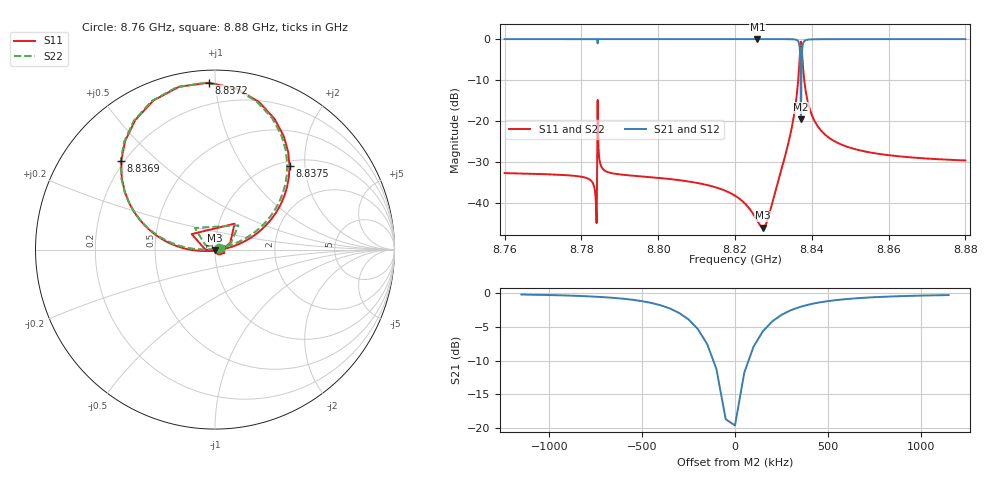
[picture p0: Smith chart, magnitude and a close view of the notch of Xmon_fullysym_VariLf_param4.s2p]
! Sonnet Data File
! From: emgraph Version : 16.52
! From Project: 171117_Xmon_fullysym
! Data is De-embedded
! Data File Written: 11/27/2017 00:27:55
!< HDATE 11/26/2017 21:47:59
!< MDATE 11/26/2017 21:47:59
!< PARAMS
!< Lj = 11.0
!< Gap = 1.0
!< Pwid = 2000.0
!< Airgap = 6.0
!< Width = 10.0
!< Lj1 = 10.68
!< END PARAMS
# GHZ S MA R 50.90000
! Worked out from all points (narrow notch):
!   2401 points, 8.76 GHz to 8.88 GHz, reference 50.9 ohm
!   highest |S21| = 0.00 dB at 8.8259 GHz (marker M1); lowest = -19.6 dB at 8.8372 GHz (marker M2)
!   notch at M2: 19.6 dB deep, 195 kHz wide at half that depth
!   lowest |S11| = -46.1 dB at 8.8272 GHz (marker M3), VSWR 1.01, Z = 51 - j0.504 ohm
!   |S11| at or under -10 dB: start of sweep to 8.8365 GHz; 8.838026 GHz to end of sweep
!   |S22| runs from -45.9 to -0.6 dB; largest |S21 - S12| = 0
!   S11 on the Smith chart (normalised r, x): 8.76 GHz: 1.05, -0.00; 8.8369 GHz: 0.19, +0.39; 8.8372 GHz: 0.07, +0.96; 8.8375 GHz: 1.09, +1.67; 8.88 GHz: 1.07, -0.00
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8.76  0.0231 -3.6  0.9997 -80.6  0.9997 -80.6  0.0231 22.3
!< P1 F=8.76 Eeff=(6.44841381 -2.9796e-5) Z0=(50.9085048 1.17026e-4) R=0.0 C=0.0
!< P2 F=8.76 Eeff=(6.44841381 -2.9796e-5) Z0=(50.9085048 1.17026e-4) R=0.0 C=0.0
8.78  0.02086 -5.6  0.9998 -81.0  0.9998 -81.0  0.02086 23.8
8.78345  0.01468 -14.1  0.9997 -81.4  0.9997 -81.4  0.01486 32.6
8.7847  0.03391 3.8  0.9989 -80.2  0.9989 -80.2  0.03411 17.4
8.78665  0.02398 -2.7  0.9997 -80.8  0.9997 -80.8  0.024 21.1
8.8  0.0202 -5.9  0.9998 -81.2  0.9998 -81.2  0.0202 23.6
8.82  0.01224 -16.4  0.9999 -81.8  0.9999 -81.8  0.01226 32.9
8.82585  0.005966 -49.6  0.9999 -82.4  0.9999 -82.4  0.006033 65.3
8.82725  0.004983 -83.1  0.9999 -82.6  0.9999 -82.6  0.005086 97.9
8.8288  0.006976 -127.9  0.9999 -82.8  0.9999 -82.8  0.007079 141.4
8.83425  0.06325 -172.6  0.9974 -86.2  0.9974 -86.2  0.06334 179.1
8.8361  0.2115 174.9  0.9733 -94.8  0.9733 -94.8  0.2116 173.2
8.83655  0.3611 164.7  0.9211 -103.8  0.9211 -103.8  0.3614 164.1
8.83695  0.7184 136.7  0.638 -128.4  0.638 -128.4  0.7189 137.0
8.8372  0.9308 92.2  0.1046 -36.1  0.1046 -36.1  0.9315 93.1
8.8375  0.6251 48.4  0.7464 -44.0  0.7464 -44.0  0.6255 49.9
8.83785  0.3808 30.1  0.9148 -60.3  0.9148 -60.3  0.381 32.3
8.83835  0.2419 20.6  0.9669 -68.7  0.9669 -68.7  0.242 23.7
8.84  0.1186 11.6  0.9923 -75.9  0.9923 -75.9  0.1186 17.3
8.84625  0.05549 4.8  0.9984 -79.6  0.9984 -79.6  0.05551 16.2
8.86  0.03824 1.3  0.9993 -80.7  0.9993 -80.7  0.03824 17.4
8.88  0.03294 -0.5  0.9995 -81.2  0.9995 -81.2  0.03295 18.2
